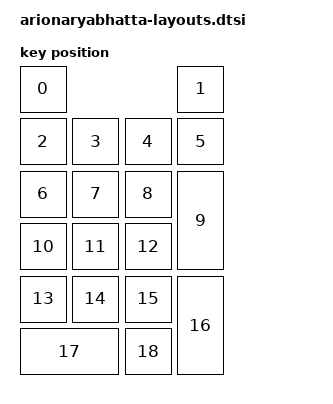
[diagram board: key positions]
/*
 * ZMK Physical Layout file for the Numpad
 *
 * The `keys` array defines the physical properties (width, height, x, y)
 * for each of the 18 keys on the board.
 *
 * IMPORTANT: The order of the keys in this list MUST exactly match the
 * order of the bindings in your `.keymap` file.
 */

#include <physical_layouts.dtsi>

/ {
    default_layout: default_layout {
        compatible = "zmk,physical-layout";
        display-name = "Arion Aryabhatta";
        transform = <&default_transform>; // Board-specific transform, leave as-is
        kscan = <&kscan0>;                // Board-specific kscan, leave as-is

        keys //                                     w    h     x     y    rot rx ry
             // Row 0: bootloader (top-left) and SPACE (top-right)
           = <&key_physical_attrs                 100  100     0     0    0 0 0>  // 0: bootloader
           , <&key_physical_attrs                 100  100   315     0    0 0 0>  // 1: SPACE
             // Row 1: RGB_TOG, /, *, -
           , <&key_physical_attrs                 100  100     0   105    0 0 0>  // 2: RGB_TOG
           , <&key_physical_attrs                 100  100   105   105    0 0 0>  // 3: SLASH
           , <&key_physical_attrs                 100  100   210   105    0 0 0>  // 4: STAR
           , <&key_physical_attrs                 100  100   315   105    0 0 0>  // 5: MINUS
             // Row 2: 7, 8, 9, PLUS (tall key starts here)
           , <&key_physical_attrs                 100  100     0   210    0 0 0>  // 6: N7
           , <&key_physical_attrs                 100  100   105   210    0 0 0>  // 7: N8
           , <&key_physical_attrs                 100  100   210   210    0 0 0>  // 8: N9
           , <&key_physical_attrs                 100  205   315   210    0 0 0>  // 9: PLUS (2U tall, spans row 2-3)
             // Row 3: 4, 5, 6
           , <&key_physical_attrs                 100  100     0   315    0 0 0>  // 10: N4
           , <&key_physical_attrs                 100  100   105   315    0 0 0>  // 11: N5
           , <&key_physical_attrs                 100  100   210   315    0 0 0>  // 12: N6
             // Row 4: 1, 2, 3, ENTER (tall key starts here)
           , <&key_physical_attrs                 100  100     0   420    0 0 0>  // 13: N1
           , <&key_physical_attrs                 100  100   105   420    0 0 0>  // 14: N2
           , <&key_physical_attrs                 100  100   210   420    0 0 0>  // 15: N3
           , <&key_physical_attrs                 100  205   315   420    0 0 0>  // 16: ENTER (2U tall, spans row 4-5)
             // Row 5: Wide '0' key, '.'
           , <&key_physical_attrs                 205  100     0   525    0 0 0>  // 17: N0 (2U wide)
           , <&key_physical_attrs                 100  100   210   525    0 0 0>  // 18: DOT
           ;
    };
};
